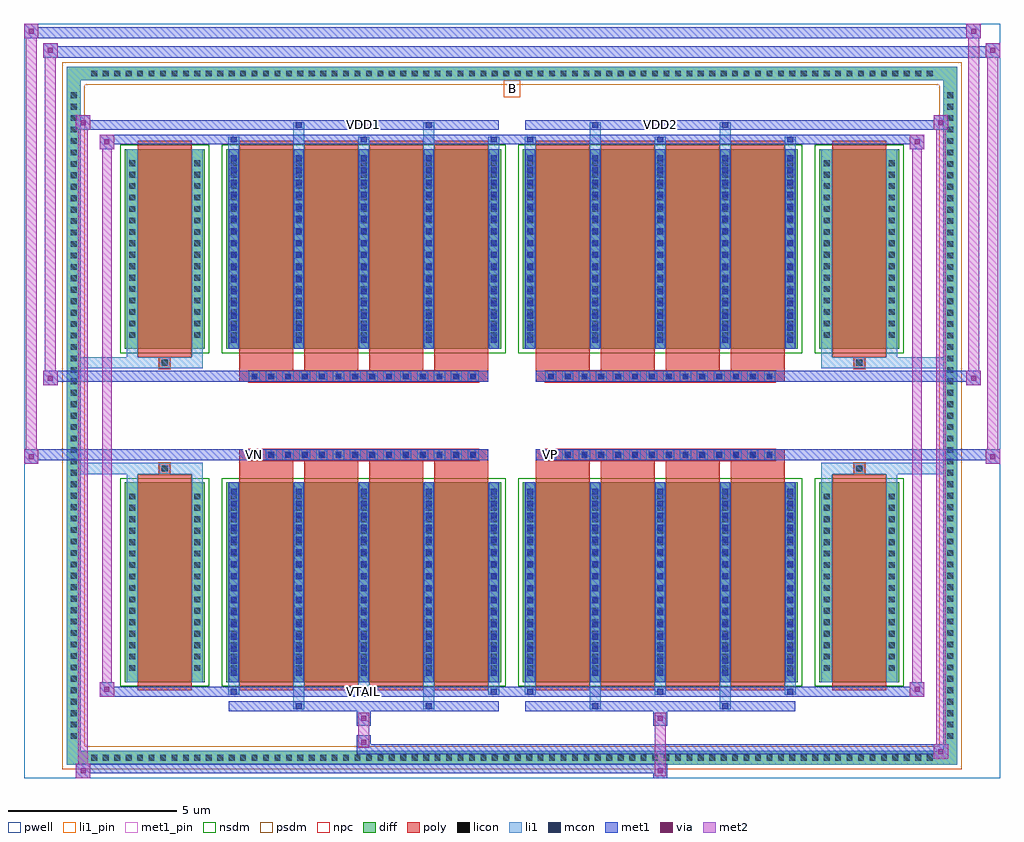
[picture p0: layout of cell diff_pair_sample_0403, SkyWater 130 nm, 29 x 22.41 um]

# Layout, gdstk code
import gdstk
lib = gdstk.Library(unit=1e-6, precision=5e-09)
def R(c, l, rs):  # rectangles x0, y0, x1, y1
    for r in rs: c.add(gdstk.rectangle(r[:2], r[2:], *l))
def A(c, l, x, y, w, h, nx, ny, dx, dy):  # array of equal rectangles
    R(c, l, [(x+i*dx, y+j*dy, x+i*dx+w, y+j*dy+h) for i in range(nx) for j in range(ny)])
def P(c, l, *ps):  # polygons
    for p in ps: c.add(gdstk.Polygon(p, *l))
pwell = (64, 44)
diff = (65, 20)
poly = (66, 20)
licon = (66, 44)
li1_pin = (67, 16)
li1 = (67, 20)
mcon = (67, 44)
met1_pin = (68, 16)
met1 = (68, 20)
via = (68, 44)
met2 = (69, 20)
nsdm = (93, 44)
psdm = (94, 20)
npc = (95, 20)

diff_pair_sample_0403 = lib.new_cell('diff_pair_sample_0403')
R(diff_pair_sample_0403, pwell, [(-14.5,-10.77,14.5,11.64), (-11.82,-8.96,-0.01,-0.8), (0.01,-8.96,11.82,-0.8), (-11.82,0.8,-0.01,8.96), (0.01,0.8,11.82,8.96)])
A(diff_pair_sample_0403, diff, -12.615, -10.37, 0.41, 0.41, 74, 2, 0.34, 20.33)
A(diff_pair_sample_0403, diff, -13.23, -9.725, 0.41, 0.41, 1, 57, 0, 0.34)
A(diff_pair_sample_0403, diff, 12.82, -9.725, 0.41, 0.41, 1, 57, 0, 0.34)
R(diff_pair_sample_0403, diff, [(-12.615,-10.37,12.615,-9.96), (-13.23,-9.725,-12.82,9.725), (12.82,-9.725,13.23,9.725), (-11.51,-7.915,-9.13,-1.985), (-8.49,-7.915,-0.32,-1.985), (0.32,-7.915,8.49,-1.985), (9.13,-7.915,11.51,-1.985), (-11.51,1.985,-9.13,7.915), (-8.49,1.985,-0.32,7.915), (0.32,1.985,8.49,7.915), (9.13,1.985,11.51,7.915), (-12.615,9.96,12.615,10.37)])
P(diff_pair_sample_0403, diff, [(13.23,10.37),(-13.23,10.37),(-13.23,-9.96),(-12.82,-9.96),(-12.82,9.96),(12.82,9.96),(12.82,-9.96),(-12.82,-9.96),(-13.23,-9.96),(-13.23,-10.37),(13.23,-10.37)])
A(diff_pair_sample_0403, poly, -8.1, -8.165, 1.6, 6.43, 4, 2, 1.93, 9.9)
A(diff_pair_sample_0403, poly, 0.71, -8.165, 1.6, 6.43, 4, 2, 1.93, 9.9)
A(diff_pair_sample_0403, poly, -8.1, -1.735, 1.6, 0.405, 4, 2, 1.93, 3.065)
A(diff_pair_sample_0403, poly, 0.71, -1.735, 1.6, 0.405, 4, 2, 1.93, 3.065)
A(diff_pair_sample_0403, poly, -7.82, -1.33, 0.33, 0.33, 14, 2, 0.5, 2.33)
A(diff_pair_sample_0403, poly, 0.99, -1.33, 0.33, 0.33, 14, 2, 0.5, 2.33)
R(diff_pair_sample_0403, poly, [(-11.12,-8.165,-9.52,-1.735), (9.52,-8.165,11.12,-1.735), (-10.485,-1.735,-10.155,-1.405), (-10.485,-1.735,-10.155,-1.405), (10.155,-1.735,10.485,-1.405), (10.155,-1.735,10.485,-1.405), (-8.1,-1.33,-0.71,-1), (0.71,-1.33,8.1,-1), (-8.1,1,-0.71,1.33), (0.71,1,8.1,1.33), (-10.485,1.405,-10.155,1.735), (-10.485,1.405,-10.155,1.735), (10.155,1.405,10.485,1.735), (10.155,1.405,10.485,1.735), (-11.12,1.735,-9.52,8.165), (9.52,1.735,11.12,8.165)])
A(diff_pair_sample_0403, licon, -12.495, -10.25, 0.17, 0.17, 74, 2, 0.34, 20.33)
A(diff_pair_sample_0403, licon, -13.11, -9.605, 0.17, 0.17, 1, 57, 0, 0.34)
A(diff_pair_sample_0403, licon, 12.94, -9.605, 0.17, 0.17, 1, 57, 0, 0.34)
A(diff_pair_sample_0403, licon, -11.37, -7.585, 0.17, 0.17, 1, 16, 0, 0.34)
A(diff_pair_sample_0403, licon, -9.44, -7.585, 0.17, 0.17, 1, 16, 0, 0.34)
A(diff_pair_sample_0403, licon, -8.35, -7.585, 0.17, 0.17, 5, 16, 1.93, 0.34)
A(diff_pair_sample_0403, licon, 0.46, -7.585, 0.17, 0.17, 5, 16, 1.93, 0.34)
A(diff_pair_sample_0403, licon, 9.27, -7.585, 0.17, 0.17, 1, 16, 0, 0.34)
A(diff_pair_sample_0403, licon, 11.2, -7.585, 0.17, 0.17, 1, 16, 0, 0.34)
A(diff_pair_sample_0403, licon, -7.74, -1.25, 0.17, 0.17, 14, 2, 0.5, 2.33)
A(diff_pair_sample_0403, licon, 1.07, -1.25, 0.17, 0.17, 14, 2, 0.5, 2.33)
A(diff_pair_sample_0403, licon, -11.37, 2.315, 0.17, 0.17, 1, 16, 0, 0.34)
A(diff_pair_sample_0403, licon, -9.44, 2.315, 0.17, 0.17, 1, 16, 0, 0.34)
A(diff_pair_sample_0403, licon, -8.35, 2.315, 0.17, 0.17, 5, 16, 1.93, 0.34)
A(diff_pair_sample_0403, licon, 0.46, 2.315, 0.17, 0.17, 5, 16, 1.93, 0.34)
A(diff_pair_sample_0403, licon, 9.27, 2.315, 0.17, 0.17, 1, 16, 0, 0.34)
A(diff_pair_sample_0403, licon, 11.2, 2.315, 0.17, 0.17, 1, 16, 0, 0.34)
R(diff_pair_sample_0403, licon, [(-10.405,-1.655,-10.235,-1.485), (10.235,-1.655,10.405,-1.485), (-10.405,1.485,-10.235,1.655), (10.235,1.485,10.405,1.655)])
R(diff_pair_sample_0403, li1_pin, [(-0.25,9.46,0.25,9.96)])
A(diff_pair_sample_0403, li1, -12.575, -10.33, 0.33, 0.33, 74, 2, 0.34, 20.33)
A(diff_pair_sample_0403, li1, -13.19, -9.685, 0.33, 0.33, 1, 57, 0, 0.34)
A(diff_pair_sample_0403, li1, 12.86, -9.685, 0.33, 0.33, 1, 57, 0, 0.34)
A(diff_pair_sample_0403, li1, -8.43, -8.29, 0.33, 0.375, 3, 2, 3.86, 16.205)
A(diff_pair_sample_0403, li1, -8.35, -8.29, 0.17, 0.17, 3, 2, 3.86, 16.41)
A(diff_pair_sample_0403, li1, 0.38, -8.29, 0.33, 0.375, 3, 2, 3.86, 16.205)
A(diff_pair_sample_0403, li1, 0.46, -8.29, 0.17, 0.17, 3, 2, 3.86, 16.41)
A(diff_pair_sample_0403, li1, -8.43, -7.915, 0.33, 5.93, 5, 2, 1.93, 9.9)
A(diff_pair_sample_0403, li1, 0.38, -7.915, 0.33, 5.93, 5, 2, 1.93, 9.9)
A(diff_pair_sample_0403, li1, -8.35, -7.735, 0.17, 0.17, 5, 16, 1.93, 0.36)
A(diff_pair_sample_0403, li1, -8.35, -7.735, 0.17, 5.57, 5, 2, 1.93, 9.9)
A(diff_pair_sample_0403, li1, 0.46, -7.735, 0.17, 0.17, 5, 16, 1.93, 0.36)
A(diff_pair_sample_0403, li1, 0.46, -7.735, 0.17, 5.57, 5, 2, 1.93, 9.9)
A(diff_pair_sample_0403, li1, -11.45, -7.665, 0.33, 0.33, 1, 16, 0, 0.34)
A(diff_pair_sample_0403, li1, -9.52, -7.665, 0.33, 0.33, 1, 16, 0, 0.34)
A(diff_pair_sample_0403, li1, -8.43, -7.665, 0.33, 0.33, 5, 16, 1.93, 0.34)
A(diff_pair_sample_0403, li1, 0.38, -7.665, 0.33, 0.33, 5, 16, 1.93, 0.34)
A(diff_pair_sample_0403, li1, 9.19, -7.665, 0.33, 0.33, 1, 16, 0, 0.34)
A(diff_pair_sample_0403, li1, 11.12, -7.665, 0.33, 0.33, 1, 16, 0, 0.34)
A(diff_pair_sample_0403, li1, -7.82, -1.33, 0.33, 0.33, 14, 2, 0.5, 2.33)
A(diff_pair_sample_0403, li1, 0.99, -1.33, 0.33, 0.33, 14, 2, 0.5, 2.33)
A(diff_pair_sample_0403, li1, -8.35, 2.165, 0.17, 0.17, 5, 16, 1.93, 0.36)
A(diff_pair_sample_0403, li1, 0.46, 2.165, 0.17, 0.17, 5, 16, 1.93, 0.36)
A(diff_pair_sample_0403, li1, -11.45, 2.235, 0.33, 0.33, 1, 16, 0, 0.34)
A(diff_pair_sample_0403, li1, -9.52, 2.235, 0.33, 0.33, 1, 16, 0, 0.34)
A(diff_pair_sample_0403, li1, -8.43, 2.235, 0.33, 0.33, 5, 16, 1.93, 0.34)
A(diff_pair_sample_0403, li1, 0.38, 2.235, 0.33, 0.33, 5, 16, 1.93, 0.34)
A(diff_pair_sample_0403, li1, 9.19, 2.235, 0.33, 0.33, 1, 16, 0, 0.34)
A(diff_pair_sample_0403, li1, 11.12, 2.235, 0.33, 0.33, 1, 16, 0, 0.34)
R(diff_pair_sample_0403, li1, [(-13.23,-10.37,-12.82,-9.96), (-13.23,-10.37,-12.82,-9.96), (-12.82,-10.37,12.82,-9.96), (12.82,-10.37,13.23,-9.96), (12.82,-10.37,13.23,-9.96), (-13.23,-9.96,-12.82,9.96), (12.82,-9.96,13.23,9.96), (-6.5,-8.72,-6.17,-7.915), (-6.42,-8.72,-6.25,-8.55), (-2.64,-8.72,-2.31,-7.915), (-2.56,-8.72,-2.39,-8.55), (2.31,-8.72,2.64,-7.915), (2.39,-8.72,2.56,-8.55), (6.17,-8.72,6.5,-7.915), (6.25,-8.72,6.42,-8.55), (-11.45,-7.915,-11.12,-1.985), (-9.52,-7.915,-9.19,-1.985), (9.19,-7.915,9.52,-1.985), (11.12,-7.915,11.45,-1.985), (-11.45,-1.985,-11.12,-1.405), (-9.52,-1.985,-9.19,-1.405), (9.19,-1.985,9.52,-1.405), (11.12,-1.985,11.45,-1.405), (-13.23,-1.735,-10.485,-1.405), (-11.45,-1.735,-10.485,-1.405), (-10.485,-1.735,-10.155,-1.405), (-10.155,-1.735,-9.19,-1.405), (9.19,-1.735,10.155,-1.405), (10.155,-1.735,10.485,-1.405), (10.155,-1.735,13.23,-1.405), (10.485,-1.735,11.45,-1.405), (-13.23,1.405,-10.485,1.735), (-11.45,1.405,-10.485,1.735), (-11.45,1.405,-11.12,1.985), (-10.485,1.405,-10.155,1.735), (-10.155,1.405,-9.19,1.735), (-9.52,1.405,-9.19,1.985), (9.19,1.405,10.155,1.735), (9.19,1.405,9.52,1.985), (10.155,1.405,10.485,1.735), (10.155,1.405,13.23,1.735), (10.485,1.405,11.45,1.735), (11.12,1.405,11.45,1.985), (-11.45,1.985,-11.12,7.915), (-9.52,1.985,-9.19,7.915), (9.19,1.985,9.52,7.915), (11.12,1.985,11.45,7.915), (-6.5,7.915,-6.17,8.72), (-2.64,7.915,-2.31,8.72), (2.31,7.915,2.64,8.72), (6.17,7.915,6.5,8.72), (-6.42,8.55,-6.25,8.72), (-2.56,8.55,-2.39,8.72), (2.39,8.55,2.56,8.72), (6.25,8.55,6.42,8.72), (-13.23,9.96,-12.82,10.37), (-13.23,9.96,-12.82,10.37), (-12.82,9.96,12.82,10.37), (12.82,9.96,13.23,10.37), (12.82,9.96,13.23,10.37)])
A(diff_pair_sample_0403, mcon, -8.35, -8.29, 0.17, 0.17, 3, 2, 3.86, 16.41)
A(diff_pair_sample_0403, mcon, 0.46, -8.29, 0.17, 0.17, 3, 2, 3.86, 16.41)
A(diff_pair_sample_0403, mcon, -8.35, -7.735, 0.17, 0.17, 5, 16, 1.93, 0.36)
A(diff_pair_sample_0403, mcon, 0.46, -7.735, 0.17, 0.17, 5, 16, 1.93, 0.36)
A(diff_pair_sample_0403, mcon, -7.74, -1.25, 0.17, 0.17, 14, 2, 0.5, 2.33)
A(diff_pair_sample_0403, mcon, 1.07, -1.25, 0.17, 0.17, 14, 2, 0.5, 2.33)
A(diff_pair_sample_0403, mcon, -8.35, 2.165, 0.17, 0.17, 5, 16, 1.93, 0.36)
A(diff_pair_sample_0403, mcon, 0.46, 2.165, 0.17, 0.17, 5, 16, 1.93, 0.36)
R(diff_pair_sample_0403, mcon, [(-6.42,-8.72,-6.25,-8.55), (-2.56,-8.72,-2.39,-8.55), (2.39,-8.72,2.56,-8.55), (6.25,-8.72,6.42,-8.55), (-6.42,8.55,-6.25,8.72), (-2.56,8.55,-2.39,8.72), (2.39,8.55,2.56,8.72), (6.25,8.55,6.42,8.72)])
R(diff_pair_sample_0403, met1_pin, [(-4.54,-8.33,-4.27,-8.06), (-7.79,-1.29,-7.52,-1.02), (1.02,-1.29,1.29,-1.02), (-4.54,8.51,-4.27,8.78), (4.27,8.51,4.54,8.78)])
A(diff_pair_sample_0403, met1, -8.41, -8.35, 0.29, 0.29, 3, 2, 3.86, 16.41)
A(diff_pair_sample_0403, met1, 0.4, -8.35, 0.29, 0.29, 3, 2, 3.86, 16.41)
A(diff_pair_sample_0403, met1, -8.41, -7.915, 0.29, 5.93, 5, 2, 1.93, 9.9)
A(diff_pair_sample_0403, met1, 0.4, -7.915, 0.29, 5.93, 5, 2, 1.93, 9.9)
A(diff_pair_sample_0403, met1, -8.41, -7.795, 0.29, 0.29, 5, 16, 1.93, 0.36)
A(diff_pair_sample_0403, met1, 0.4, -7.795, 0.29, 0.29, 5, 16, 1.93, 0.36)
A(diff_pair_sample_0403, met1, -7.8, -1.31, 0.29, 0.29, 14, 2, 0.5, 2.33)
A(diff_pair_sample_0403, met1, 1.01, -1.31, 0.29, 0.29, 14, 2, 0.5, 2.33)
A(diff_pair_sample_0403, met1, -8.41, 2.105, 0.29, 0.29, 5, 16, 1.93, 0.36)
A(diff_pair_sample_0403, met1, 0.4, 2.105, 0.29, 0.29, 5, 16, 1.93, 0.36)
R(diff_pair_sample_0403, met1, [(-12.96,-10.77,-12.53,-10.34), (4.19,-10.77,4.62,-10.34), (-12.96,-10.63,4.62,-10.34), (12.53,-10.2,12.96,-9.77), (-4.62,-10.06,12.96,-9.77), (-4.62,-9.92,-4.19,-9.49), (-4.62,-9.21,-4.19,-8.78), (4.19,-9.21,4.62,-8.78), (-8.41,-8.78,-0.4,-8.49), (-6.48,-8.78,-6.19,-8.49), (-2.62,-8.78,-2.33,-8.49), (0.4,-8.78,8.41,-8.49), (2.33,-8.78,2.62,-8.49), (6.19,-8.78,6.48,-8.49), (-12.25,-8.35,-11.82,-7.92), (-12.25,-8.35,-8.41,-8.06), (-8.41,-8.35,-0.4,-8.06), (-0.4,-8.35,0.4,-8.06), (0.4,-8.35,8.41,-8.06), (8.41,-8.35,12.25,-8.06), (11.82,-8.35,12.25,-7.92), (-14.5,-1.43,-14.07,-1), (14.07,-1.43,14.5,-1), (-14.5,-1.33,-0.71,-1), (-8.1,-1.33,-0.71,-1), (0.71,-1.33,8.1,-1), (0.71,-1.33,14.5,-1), (-13.93,0.9,-13.5,1.33), (13.5,0.9,13.93,1.33), (-13.93,1,-8.1,1.33), (-8.1,1,-0.71,1.33), (0.71,1,8.1,1.33), (8.1,1,13.93,1.33), (-12.25,7.92,-11.82,8.35), (11.82,7.92,12.25,8.35), (-12.25,8.06,-8.41,8.35), (-8.41,8.06,-0.4,8.35), (-0.4,8.06,0.4,8.35), (0.4,8.06,8.41,8.35), (8.41,8.06,12.25,8.35), (-12.96,8.49,-12.53,8.92), (-12.96,8.49,-8.41,8.78), (-8.41,8.49,-0.4,8.78), (-6.48,8.49,-6.19,8.78), (-2.62,8.49,-2.33,8.78), (0.4,8.49,8.41,8.78), (2.33,8.49,2.62,8.78), (6.19,8.49,6.48,8.78), (8.41,8.49,12.96,8.78), (12.53,8.49,12.96,8.92), (-13.93,10.64,-13.5,11.07), (-13.93,10.64,-11.82,10.97), (-11.82,10.64,11.82,10.97), (11.82,10.64,14.5,10.97), (14.07,10.64,14.5,11.07), (-14.5,11.21,-14.07,11.64), (-14.5,11.21,-11.82,11.54), (-11.82,11.21,11.82,11.54), (11.82,11.21,13.93,11.54), (13.5,11.21,13.93,11.64)])
R(diff_pair_sample_0403, via, [(-12.82,-10.63,-12.67,-10.48), (4.33,-10.63,4.48,-10.48), (12.67,-10.06,12.82,-9.91), (-4.48,-9.78,-4.33,-9.63), (-4.48,-9.07,-4.33,-8.92), (4.33,-9.07,4.48,-8.92), (-12.11,-8.21,-11.96,-8.06), (11.96,-8.21,12.11,-8.06), (-14.36,-1.29,-14.21,-1.14), (14.21,-1.29,14.36,-1.14), (-13.79,1.04,-13.64,1.19), (13.64,1.04,13.79,1.19), (-12.11,8.06,-11.96,8.21), (11.96,8.06,12.11,8.21), (-12.82,8.63,-12.67,8.78), (12.67,8.63,12.82,8.78), (-13.79,10.78,-13.64,10.93), (14.21,10.78,14.36,10.93), (-14.36,11.35,-14.21,11.5), (13.64,11.35,13.79,11.5)])
R(diff_pair_sample_0403, met2, [(-12.96,-10.77,-12.53,-10.34), (-12.89,-10.77,-12.6,8.92), (-12.6,-10.77,-12.53,-10.34), (-12.91,-10.72,-12.58,-10.39), (4.24,-10.72,4.57,-10.39), (4.24,-10.39,4.57,-9.16), (12.53,-10.2,12.96,-9.77), (12.6,-10.2,12.89,8.92), (12.89,-10.2,12.96,-9.77), (12.58,-10.15,12.91,-9.82), (-4.57,-9.87,-4.24,-9.54), (-4.57,-9.54,-4.24,-9.16), (-4.57,-9.16,-4.24,-8.83), (4.24,-9.16,4.57,-8.83), (-12.25,-8.35,-11.82,-7.92), (-12.18,-8.35,-11.89,8.35), (-11.89,-8.35,-11.82,-7.92), (11.82,-8.35,12.25,-7.92), (11.89,-8.35,12.18,8.35), (12.18,-8.35,12.25,-7.92), (-12.2,-8.3,-11.87,-7.97), (11.87,-8.3,12.2,-7.97), (-14.5,-1.43,-14.07,-1), (-14.45,-1.43,-14.12,11.64), (-14.12,-1.43,-14.07,-1), (14.07,-1.43,14.5,-1), (14.12,-1.43,14.45,11.07), (14.45,-1.43,14.5,-1), (-14.45,-1.38,-14.12,-1.05), (14.12,-1.38,14.45,-1.05), (-13.93,0.9,-13.5,1.33), (-13.88,0.9,-13.55,11.07), (-13.55,0.9,-13.5,1.33), (13.5,0.9,13.93,1.33), (13.55,0.9,13.88,11.64), (13.88,0.9,13.93,1.33), (-13.88,0.95,-13.55,1.28), (13.55,0.95,13.88,1.28), (-12.25,7.92,-11.82,8.35), (-11.89,7.92,-11.82,8.35), (11.82,7.92,12.25,8.35), (12.18,7.92,12.25,8.35), (-12.2,7.97,-11.87,8.3), (11.87,7.97,12.2,8.3), (-12.96,8.49,-12.53,8.92), (-12.6,8.49,-12.53,8.92), (12.53,8.49,12.96,8.92), (12.89,8.49,12.96,8.92), (-12.91,8.54,-12.58,8.87), (12.58,8.54,12.91,8.87), (-13.93,10.64,-13.5,11.07), (-13.55,10.64,-13.5,11.07), (14.07,10.64,14.5,11.07), (14.45,10.64,14.5,11.07), (-13.88,10.69,-13.55,11.02), (14.12,10.69,14.45,11.02), (-14.5,11.21,-14.07,11.64), (-14.12,11.21,-14.07,11.64), (13.5,11.21,13.93,11.64), (13.88,11.21,13.93,11.64), (-14.45,11.26,-14.12,11.59), (13.55,11.26,13.88,11.59)])
R(diff_pair_sample_0403, nsdm, [(-11.64,-8.045,-9,-1.855), (-8.62,-8.045,-0.19,-1.855), (0.19,-8.045,8.62,-1.855), (9,-8.045,11.64,-1.855), (-11.64,1.855,-9,8.045), (-8.62,1.855,-0.19,8.045), (0.19,1.855,8.62,8.045), (9,1.855,11.64,8.045)])
P(diff_pair_sample_0403, psdm, [(13.36,10.5),(-13.36,10.5),(-13.36,-9.83),(-12.69,-9.83),(-12.69,9.83),(12.69,9.83),(12.69,-9.83),(-12.69,-9.83),(-13.36,-9.83),(-13.36,-10.5),(13.36,-10.5)])
A(diff_pair_sample_0403, npc, -7.84, -1.35, 0.37, 0.37, 14, 2, 0.5, 2.33)
A(diff_pair_sample_0403, npc, 0.97, -1.35, 0.37, 0.37, 14, 2, 0.5, 2.33)
R(diff_pair_sample_0403, npc, [(-10.505,-1.755,-10.135,-1.385), (10.135,-1.755,10.505,-1.385), (-7.84,-1.35,-6.97,-0.98), (-7.84,-1.35,-6.97,-0.98), (-7.34,-1.35,-6.47,-0.98), (-7.34,-1.35,-6.47,-0.98), (-6.84,-1.35,-5.97,-0.98), (-6.84,-1.35,-5.97,-0.98), (-6.34,-1.35,-5.47,-0.98), (-6.34,-1.35,-5.47,-0.98), (-5.84,-1.35,-4.97,-0.98), (-5.84,-1.35,-4.97,-0.98), (-5.34,-1.35,-4.47,-0.98), (-5.34,-1.35,-4.47,-0.98), (-4.84,-1.35,-3.97,-0.98), (-4.84,-1.35,-3.97,-0.98), (-4.34,-1.35,-3.47,-0.98), (-4.34,-1.35,-3.47,-0.98), (-3.84,-1.35,-2.97,-0.98), (-3.84,-1.35,-2.97,-0.98), (-3.34,-1.35,-2.47,-0.98), (-3.34,-1.35,-2.47,-0.98), (-2.84,-1.35,-1.97,-0.98), (-2.84,-1.35,-1.97,-0.98), (-2.34,-1.35,-1.47,-0.98), (-2.34,-1.35,-1.47,-0.98), (-1.84,-1.35,-0.97,-0.98), (-1.84,-1.35,-0.97,-0.98), (0.97,-1.35,1.84,-0.98), (0.97,-1.35,1.84,-0.98), (1.47,-1.35,2.34,-0.98), (1.47,-1.35,2.34,-0.98), (1.97,-1.35,2.84,-0.98), (1.97,-1.35,2.84,-0.98), (2.47,-1.35,3.34,-0.98), (2.47,-1.35,3.34,-0.98), (2.97,-1.35,3.84,-0.98), (2.97,-1.35,3.84,-0.98), (3.47,-1.35,4.34,-0.98), (3.47,-1.35,4.34,-0.98), (3.97,-1.35,4.84,-0.98), (3.97,-1.35,4.84,-0.98), (4.47,-1.35,5.34,-0.98), (4.47,-1.35,5.34,-0.98), (4.97,-1.35,5.84,-0.98), (4.97,-1.35,5.84,-0.98), (5.47,-1.35,6.34,-0.98), (5.47,-1.35,6.34,-0.98), (5.97,-1.35,6.84,-0.98), (5.97,-1.35,6.84,-0.98), (6.47,-1.35,7.34,-0.98), (6.47,-1.35,7.34,-0.98), (6.97,-1.35,7.84,-0.98), (6.97,-1.35,7.84,-0.98), (-7.84,0.98,-6.97,1.35), (-7.84,0.98,-6.97,1.35), (-7.34,0.98,-6.47,1.35), (-7.34,0.98,-6.47,1.35), (-6.84,0.98,-5.97,1.35), (-6.84,0.98,-5.97,1.35), (-6.34,0.98,-5.47,1.35), (-6.34,0.98,-5.47,1.35), (-5.84,0.98,-4.97,1.35), (-5.84,0.98,-4.97,1.35), (-5.34,0.98,-4.47,1.35), (-5.34,0.98,-4.47,1.35), (-4.84,0.98,-3.97,1.35), (-4.84,0.98,-3.97,1.35), (-4.34,0.98,-3.47,1.35), (-4.34,0.98,-3.47,1.35), (-3.84,0.98,-2.97,1.35), (-3.84,0.98,-2.97,1.35), (-3.34,0.98,-2.47,1.35), (-3.34,0.98,-2.47,1.35), (-2.84,0.98,-1.97,1.35), (-2.84,0.98,-1.97,1.35), (-2.34,0.98,-1.47,1.35), (-2.34,0.98,-1.47,1.35), (-1.84,0.98,-0.97,1.35), (-1.84,0.98,-0.97,1.35), (0.97,0.98,1.84,1.35), (0.97,0.98,1.84,1.35), (1.47,0.98,2.34,1.35), (1.47,0.98,2.34,1.35), (1.97,0.98,2.84,1.35), (1.97,0.98,2.84,1.35), (2.47,0.98,3.34,1.35), (2.47,0.98,3.34,1.35), (2.97,0.98,3.84,1.35), (2.97,0.98,3.84,1.35), (3.47,0.98,4.34,1.35), (3.47,0.98,4.34,1.35), (3.97,0.98,4.84,1.35), (3.97,0.98,4.84,1.35), (4.47,0.98,5.34,1.35), (4.47,0.98,5.34,1.35), (4.97,0.98,5.84,1.35), (4.97,0.98,5.84,1.35), (5.47,0.98,6.34,1.35), (5.47,0.98,6.34,1.35), (5.97,0.98,6.84,1.35), (5.97,0.98,6.84,1.35), (6.47,0.98,7.34,1.35), (6.47,0.98,7.34,1.35), (6.97,0.98,7.84,1.35), (6.97,0.98,7.84,1.35), (-10.505,1.385,-10.135,1.755), (10.135,1.385,10.505,1.755)])
diff_pair_sample_0403.add(gdstk.Label('VTAIL', (-4.405,-8.195), layer=68, texttype=5))
diff_pair_sample_0403.add(gdstk.Label('VN', (-7.655,-1.155), layer=68, texttype=5))
diff_pair_sample_0403.add(gdstk.Label('VP', (1.155,-1.155), layer=68, texttype=5))
diff_pair_sample_0403.add(gdstk.Label('B', (0,9.71), layer=67, texttype=5))
diff_pair_sample_0403.add(gdstk.Label('VDD2', (4.405,8.645), layer=68, texttype=5))
diff_pair_sample_0403.add(gdstk.Label('VDD1', (-4.405,8.645), layer=68, texttype=5))

lib.write_gds('diff_pair_sample_0403.gds')
